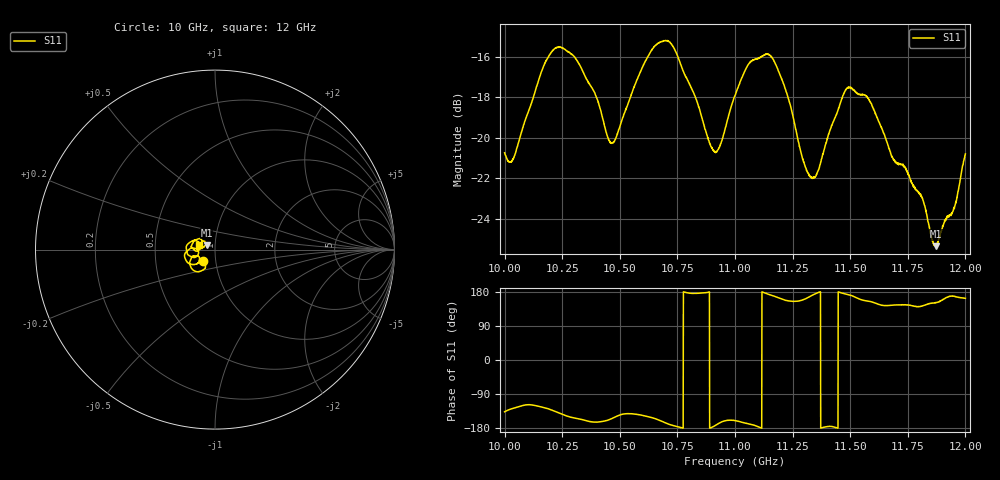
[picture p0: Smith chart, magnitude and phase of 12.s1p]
[Version] 2.0
! Rohde & Schwarz Vector Network Analyzer
! Rohde-Schwarz,ZNL20-2Port,1323001220200009,1.71.1.10-23.02.1.238
! Port Assignments:
! Nominal Port -> Actual Test Port
!  1 -> 1
! Created: GMT 2024-08-27 13:53:27
# Hz S DB R 50
[Number of Ports] 1
! freq[Hz]  S11[mag dB]  S11[ang]
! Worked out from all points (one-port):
!   2001 points, 10 GHz to 12 GHz, reference 50 ohm
!   lowest |S11| = -25.3 dB at 11.87 GHz (marker M1), VSWR 1.11, Z = 45.4 + j2.39 ohm
!   |S11| at or under -10 dB: start of sweep to end of sweep
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[Number of Frequencies] 28
[Network Data]
1e10  -20.73 -136.7
1.0036e10  -21.02 -127.5
1.0173e10  -16.35 -125.8
1.025e10  -15.55 -143.3
1.0386e10  -17.68 -163.7
1.0457e10  -20.20 -156.8
1.05e10  -19.44 -145.1
1.0646e10  -15.55 -153.2
1.0707e10  -15.21 -168.1
1.075e10  -15.93 -175.9
1.0911e10  -20.69 -174.1
1.0938e10  -20.28 -164.6
1.1e10  -17.91 -159.9
1.1061e10  -16.33 -168.8
1.1144e10  -15.88 173.6
1.1194e10  -16.85 163.0
1.125e10  -18.83 154.8
1.1302e10  -21.32 160.7
1.1342e10  -21.93 172.9
1.147e10  -17.88 175.8
1.15e10  -17.51 171.2
1.1578e10  -18.04 155.3
1.1686e10  -21.02 145.1
1.175e10  -21.78 145.0
1.1814e10  -22.98 142.7
1.1872e10  -25.34 151.0
1.1952e10  -23.48 167.9
1.2e10  -20.79 162.7
[End]
